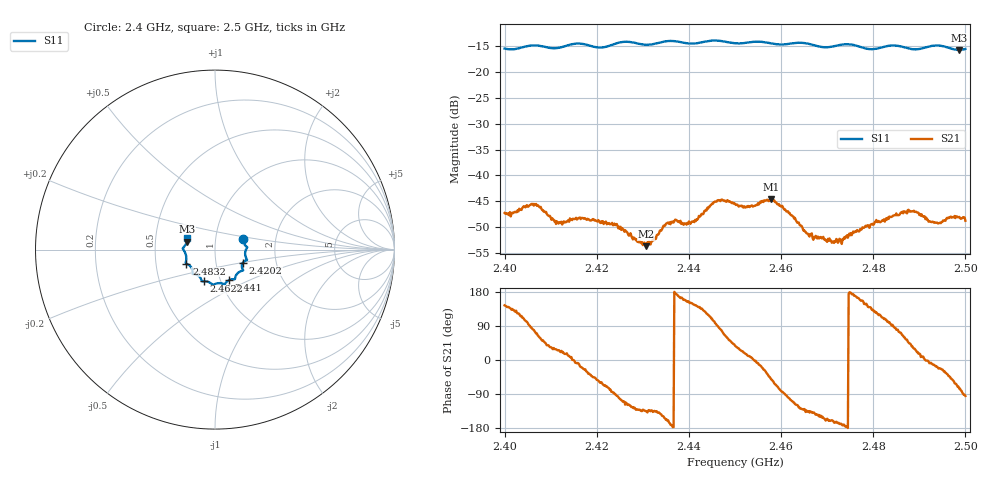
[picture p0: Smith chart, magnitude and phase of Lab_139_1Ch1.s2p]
# Hz S RI R 50
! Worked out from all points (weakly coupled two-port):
!   601 points, 2.4 GHz to 2.5 GHz, reference 50 ohm
!   highest |S21| = -44.61 dB at 2.4578 GHz (marker M1); lowest = -53.6 dB at 2.4307 GHz (marker M2)
!   lowest |S11| = -15.8 dB at 2.4987 GHz (marker M3), VSWR 1.39, Z = 36.4 + j3.37 ohm
!   |S11| at or under -10 dB: start of sweep to end of sweep
!   S12 and S22 are empty: the file has one direction only
!   S11 on the Smith chart (normalised r, x): 2.4 GHz: 1.36, +0.17; 2.4202 GHz: 1.35, -0.20; 2.441 GHz: 1.09, -0.39; 2.4622 GHz: 0.83, -0.30; 2.4832 GHz: 0.72, -0.12; 2.5 GHz: 0.73, +0.09
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2.4e9  0.1564 0.0598  -0.00352 0.00255  0 0  0 0
2.406333e9  0.1795 0.013  0.000953 0.00503  0 0  0 0
2.411333e9  0.1676 -0.023  0.00322 0.00164  0 0  0 0
2.416667e9  0.1772 -0.0583  0.00368 -0.00127  0 0  0 0
2.420167e9  0.1558 -0.0725  0.00216 -0.00286  0 0  0 0
2.423833e9  0.1525 -0.1059  1.53e-05 -0.00344  0 0  0 0
2.430667e9  0.1281 -0.1299  -0.00147 -0.00147  0 0  0 0
2.433333e9  0.1133 -0.1526  -0.00203 -0.00175  0 0  0 0
2.435333e9  0.1112 -0.1636  -0.0033 -0.00117  0 0  0 0
2.441e9  0.0765 -0.171  -0.003 0.002  0 0  0 0
2.445833e9  0.0522 -0.1938  -0.000564 0.00558  0 0  0 0
2.45e9  0.0262 -0.1868  0.00421 0.00329  0 0  0 0
2.457833e9  -0.0245 -0.1866  0.00371 -0.00457  0 0  0 0
2.462167e9  -0.0631 -0.1766  -0.00115 -0.00397  0 0  0 0
2.466667e9  -0.0767 -0.1664  -0.00203 -0.00187  0 0  0 0
2.472833e9  -0.1199 -0.1367  -0.00238 -0.000464  0 0  0 0
2.483167e9  -0.1596 -0.078  -0.000822 0.00384  0 0  0 0
2.483333e9  -0.1603 -0.0776  -0.000607 0.00376  0 0  0 0
2.488e9  -0.1599 -0.0475  0.00332 0.00312  0 0  0 0
2.493667e9  -0.1795 0.00546  0.00338 -0.00097  0 0  0 0
2.498667e9  -0.1563 0.0451  0.000993 -0.00386  0 0  0 0
2.5e9  -0.1536 0.0631  -0.000318 -0.00365  0 0  0 0
